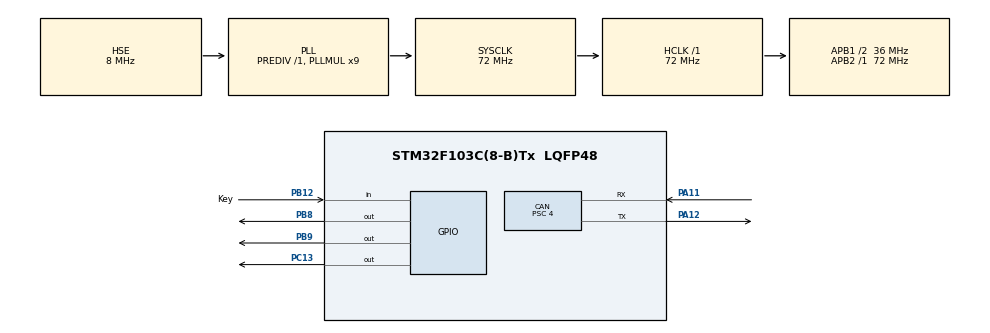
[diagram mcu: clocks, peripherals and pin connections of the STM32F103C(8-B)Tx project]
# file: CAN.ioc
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CAN.ABOM=ENABLE
CAN.BS1=CAN_BS1_6TQ
CAN.BS2=CAN_BS2_2TQ
CAN.CalculateBaudRate=1000000
CAN.CalculateTimeBit=1000
CAN.CalculateTimeQuantum=111.11111111111111
CAN.Mode=CAN_MODE_SILENT_LOOPBACK
CAN.NART=ENABLE
CAN.Prescaler=4
Mcu.Family=STM32F1
Mcu.Name=STM32F103C(8-B)Tx
Mcu.Package=LQFP48
NVIC.PriorityGroup=NVIC_PRIORITYGROUP_4
NVIC.USB_LP_CAN1_RX0_IRQn=true\:0\:0\:false\:false\:true\:true\:true\:true
PA11.Mode=CAN_Activate
PA11.Signal=CAN_RX
PA12.Mode=CAN_Activate
PA12.Signal=CAN_TX
PA13.Mode=Serial_Wire
PA13.Signal=SYS_JTMS-SWDIO
PA14.Mode=Serial_Wire
PA14.Signal=SYS_JTCK-SWCLK
PB12.GPIO_Label=Key
PB12.GPIO_PuPd=GPIO_PULLDOWN
PB12.Signal=GPIO_Input
PB8.Signal=GPIO_Output
PB9.Signal=GPIO_Output
PC13-TAMPER-RTC.PinState=GPIO_PIN_SET
PC13-TAMPER-RTC.Signal=GPIO_Output
PD0-OSC_IN.Mode=HSE-External-Oscillator
PD0-OSC_IN.Signal=RCC_OSC_IN
PD1-OSC_OUT.Mode=HSE-External-Oscillator
PD1-OSC_OUT.Signal=RCC_OSC_OUT
ProjectManager.HeapSize=0x200
ProjectManager.StackSize=0x400
ProjectManager.TargetToolchain=CMake
RCC.AHBFreq_Value=72000000
RCC.APB1CLKDivider=RCC_HCLK_DIV2
RCC.APB1Freq_Value=36000000
RCC.APB1TimFreq_Value=72000000
RCC.APB2Freq_Value=72000000
RCC.APB2TimFreq_Value=72000000
RCC.HCLKFreq_Value=72000000
RCC.PLLMUL=RCC_PLL_MUL9
RCC.PLLSourceVirtual=RCC_PLLSOURCE_HSE
RCC.SYSCLKFreq_VALUE=72000000
RCC.SYSCLKSource=RCC_SYSCLKSOURCE_PLLCLK
RCC.USBFreq_Value=72000000
board=custom

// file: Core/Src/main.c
/* USER CODE BEGIN Header */
/**
  ******************************************************************************
  * @file           : main.c
  * @brief          : Main program body
  ******************************************************************************
  * @attention
  *
  * Copyright (c) 2026 STMicroelectronics.
  * All rights reserved.
  *
  * This software is licensed under terms that can be found in the LICENSE file
  * in the root directory of this software component.
  * If no LICENSE file comes with this software, it is provided AS-IS.
  *
  ******************************************************************************
  */
/* USER CODE END Header */
#include "main.h"
#include "can.h"
#include "gpio.h"

/* USER CODE BEGIN Includes */
#include <string.h>
#include "OLED.h"
#include "stm32f1xx_hal.h"
#include <stdio.h>
/* USER CODE END Includes */

/* USER CODE BEGIN PV */
uint8_t Txbuf[8] = {1,2,3,4,5,6,7,8};
uint8_t Rxbuf[8] = {0};
volatile uint8_t can_rx_flag = 0;
char oled_message[64];
uint32_t last_key_time = 0;
uint32_t current_key_time = 0;
uint8_t last_key_state = 0;
uint32_t last_oled_time = 0;
uint32_t current_oled_time = 0;
/* USER CODE END PV */

void SystemClock_Config(void);

/* USER CODE BEGIN 0 */
void HAL_CAN_RxFifo0MsgPendingCallback(CAN_HandleTypeDef *hcan)
{
  can_read(Rxbuf);
  can_rx_flag = 1;
}
/* USER CODE END 0 */

int main(void)
{

  /* MCU Configuration--------------------------------------------------------*/

  /* Reset of all peripherals, Initializes the Flash interface and the Systick. */
  HAL_Init();

  /* Configure the system clock */
  SystemClock_Config();

  /* Initialize all configured peripherals */
  MX_GPIO_Init();
  MX_CAN_Init();
  /* USER CODE BEGIN 2 */
  OLED_Init();
  can_filter();
  HAL_CAN_Start(&hcan);

  HAL_CAN_ActivateNotification(&hcan,CAN_IT_RX_FIFO0_MSG_PENDING);
  /* USER CODE END 2 */

  /* Infinite loop */
  /* USER CODE BEGIN WHILE */
  while (1)
  {
    current_key_time = HAL_GetTick();
    if(HAL_GPIO_ReadPin(GPIOB,Key_Pin))
    {
      if(last_key_state == 0 && (current_key_time - last_key_time > 20))
      {
        can_send(Txbuf);
        last_key_time = HAL_GetTick();
        last_key_state = 1;
      }
    }
    else
    {
      last_key_state = 0;
    }

    if(can_rx_flag == 1)
    {
      can_rx_flag = 0;
      sprintf(oled_message,"%u %u %u %u %u %u %u %u",Rxbuf[0],Rxbuf[1],Rxbuf[2],Rxbuf[3],Rxbuf[4],
                                                                      Rxbuf[5],Rxbuf[6],Rxbuf[7]);
    }
    current_oled_time = HAL_GetTick();
    if(current_oled_time - last_oled_time > 100)
    {
      OLED_ShowString(1,1,oled_message,OLED_8X16);
      OLED_Update();
      last_oled_time = HAL_GetTick();
    }
    /* USER CODE END WHILE */

  }
}

void SystemClock_Config(void)
{
  RCC_OscInitTypeDef RCC_OscInitStruct = {0};
  RCC_ClkInitTypeDef RCC_ClkInitStruct = {0};

  /** Initializes the RCC Oscillators according to the specified parameters
  * in the RCC_OscInitTypeDef structure.
  */
  RCC_OscInitStruct.OscillatorType = RCC_OSCILLATORTYPE_HSE;
  RCC_OscInitStruct.HSEState = RCC_HSE_ON;
  RCC_OscInitStruct.HSEPredivValue = RCC_HSE_PREDIV_DIV1;
  RCC_OscInitStruct.HSIState = RCC_HSI_ON;
  RCC_OscInitStruct.PLL.PLLState = RCC_PLL_ON;
  RCC_OscInitStruct.PLL.PLLSource = RCC_PLLSOURCE_HSE;
  RCC_OscInitStruct.PLL.PLLMUL = RCC_PLL_MUL9;
  if (HAL_RCC_OscConfig(&RCC_OscInitStruct) != HAL_OK)
  {
    Error_Handler();
  }

  /** Initializes the CPU, AHB and APB buses clocks
  */
  RCC_ClkInitStruct.ClockType = RCC_CLOCKTYPE_HCLK|RCC_CLOCKTYPE_SYSCLK
                              |RCC_CLOCKTYPE_PCLK1|RCC_CLOCKTYPE_PCLK2;
  RCC_ClkInitStruct.SYSCLKSource = RCC_SYSCLKSOURCE_PLLCLK;
  RCC_ClkInitStruct.AHBCLKDivider = RCC_SYSCLK_DIV1;
  RCC_ClkInitStruct.APB1CLKDivider = RCC_HCLK_DIV2;
  RCC_ClkInitStruct.APB2CLKDivider = RCC_HCLK_DIV1;

  if (HAL_RCC_ClockConfig(&RCC_ClkInitStruct, FLASH_LATENCY_2) != HAL_OK)
  {
    Error_Handler();
  }
}

void Error_Handler(void)
{
  __disable_irq();
  while (1)
  {
  }
}
